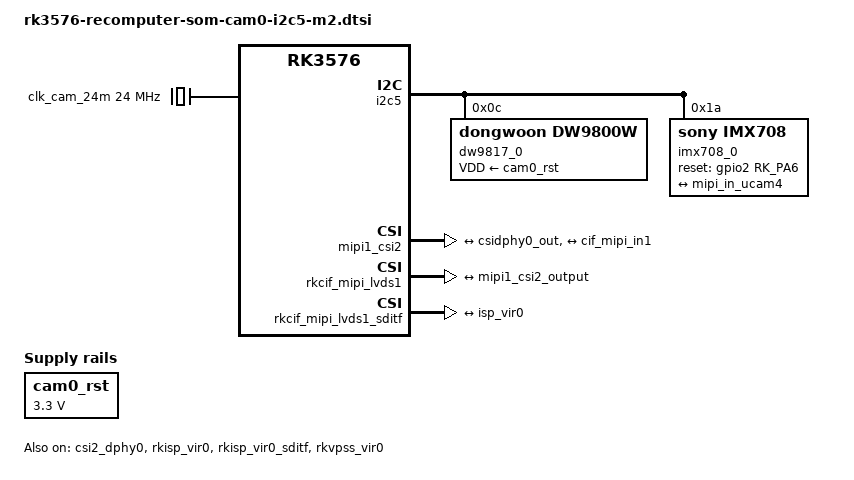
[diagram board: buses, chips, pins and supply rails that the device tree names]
// SPDX-License-Identifier: (GPL-2.0+ OR MIT)
/*
 * reComputer RK3576 Module IO Board, camera link 0:
 * CSI0 connector, sensors on I2C5 (M2), MIPI RX via csi2_dphy0
 * and mipi1_csi2 into rkcif_mipi_lvds1 / rkisp_vir0.
 *
 * Copyright (c) 2024 Luckfox Technology Co., Ltd.
 * Copyright (c) 2026 Seeed Studio
 */

/ {
	cam0_rst: cam0-rst {
		compatible = "regulator-fixed";
		regulator-name = "cam0_pwr";
		regulator-min-microvolt = <3300000>;
		regulator-max-microvolt = <3300000>;
		regulator-always-on;
	};

    clk_cam_24m: external-camera-clock-24m {
        status = "okay";
        compatible = "fixed-clock";
        clock-frequency = <24000000>;
        clock-output-names = "clk_cam_24m";
        #clock-cells = <0>;
    };
};

// cam0: i2c5
&i2c5 {
	status = "okay";
	pinctrl-0 = <&i2c5m2_xfer>;

    imx219_0: imx219@10 {
        status = "disabled";
        compatible = "sony,imx219";
        reg = <0x10>;
        clocks = <&clk_cam_24m>;
        clock-names = "xvclk";
        rockchip,camera-module-index = <0>;
        rockchip,camera-module-facing = "back";
        rockchip,camera-module-name = "rpi-camera-v2";
        rockchip,camera-module-lens-name = "default";

        port {
            imx219_out0: endpoint {
                remote-endpoint = <&mipi_in_ucam2>;
                data-lanes = <1 2>;
            };
        };
    };


	dw9817_0: dw9817@c {
		compatible = "dongwoon,dw9800w";
		status = "okay";
		reg = <0x0c>;
		VDD-supply = <&cam0_rst>;
		rockchip,camera-module-index = <0>;
		rockchip,vcm-start-current = <10>;
		rockchip,vcm-rated-current = <85>;
		rockchip,vcm-step-mode = <5>;
		rockchip,camera-module-facing = "back";

	};

	imx708_0: imx708@1a {
		status = "okay";
		compatible = "sony,imx708";
		reg = <0x1a>;
		clocks = <&clk_cam_24m>;
		clock-names = "xclk";
		/* vana1-supply = <&cam0_pwr>; */
		pinctrl-names = "default";

		reset-gpios = <&gpio2 RK_PA6 GPIO_ACTIVE_HIGH>;
		rockchip,camera-module-index = <0>;
		rockchip,camera-module-facing = "front";
		rockchip,camera-module-name = "rpi-camera-v3";
		rockchip,camera-module-lens-name = "default";
		lens-focus = <&dw9817_0>;
		port {
            imx708_out0: endpoint {
                remote-endpoint = <&mipi_in_ucam4>;
                data-lanes = <1 2>;
                link-frequencies = /bits/ 64 <450000000>;
            };
		};
	};
};

&csi2_dphy0 {
	status = "okay";

	ports {
		#address-cells = <1>;
		#size-cells = <0>;
		port@0 {
			reg = <0>;
			#address-cells = <1>;
			#size-cells = <0>;

			mipi_in_ucam2: endpoint@2 {
				reg = <2>;
				remote-endpoint = <&imx219_out0>;
				data-lanes = <1 2>;
			};

			mipi_in_ucam4: endpoint@3 {
				reg = <3>;
				remote-endpoint = <&imx708_out0>;
				data-lanes = <1 2>;
			};

		};
		port@1 {
			reg = <1>;
			#address-cells = <1>;
			#size-cells = <0>;

			csidphy0_out: endpoint@0 {
				reg = <0>;
				remote-endpoint = <&mipi1_csi2_input>;
			};
		};
	};
};

&mipi1_csi2 {
	status = "okay";

	ports {
		#address-cells = <1>;
		#size-cells = <0>;

		port@0 {
			reg = <0>;
			#address-cells = <1>;
			#size-cells = <0>;

			mipi1_csi2_input: endpoint@1 {
				reg = <1>;
				remote-endpoint = <&csidphy0_out>;
			};
		};

		port@1 {
			reg = <1>;
			#address-cells = <1>;
			#size-cells = <0>;

			mipi1_csi2_output: endpoint@0 {
				reg = <0>;
				remote-endpoint = <&cif_mipi_in1>;
			};
		};
	};
};

&rkcif_mipi_lvds1 {
	status = "okay";

	port {
		cif_mipi_in1: endpoint {
			remote-endpoint = <&mipi1_csi2_output>;
		};
	};
};

&rkcif_mipi_lvds1_sditf {
	status = "okay";

	port {
		mipi_lvds1_sditf: endpoint {
			remote-endpoint = <&isp_vir0>;
		};
	};
};

&rkisp_vir0 {
	status = "okay";

	port {
		#address-cells = <1>;
		#size-cells = <0>;

		isp_vir0: endpoint@0 {
			reg = <0>;
			remote-endpoint = <&mipi_lvds1_sditf>;
		};
	};
};

&rkisp_vir0_sditf {
	status = "okay";
};

&rkvpss_vir0 {
	status = "okay";
};
